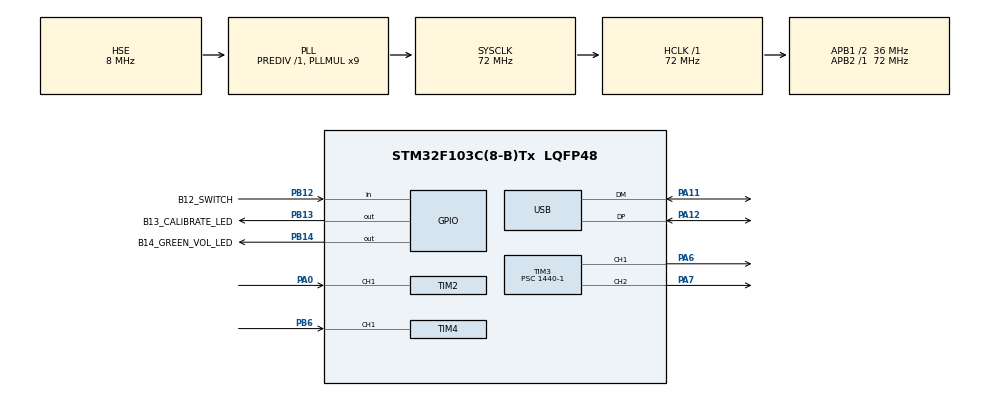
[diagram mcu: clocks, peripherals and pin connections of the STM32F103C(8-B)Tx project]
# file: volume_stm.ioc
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Mcu.Family=STM32F1
Mcu.Name=STM32F103C(8-B)Tx
Mcu.Package=LQFP48
NVIC.PriorityGroup=NVIC_PRIORITYGROUP_4
NVIC.RCC_IRQn=true\:0\:0\:false\:false\:true\:true\:false\:true
NVIC.TIM2_IRQn=true\:0\:0\:false\:false\:true\:true\:true\:true
NVIC.TIM3_IRQn=true\:0\:0\:false\:false\:true\:true\:true\:true
NVIC.TIM4_IRQn=true\:0\:0\:false\:false\:true\:true\:true\:true
NVIC.USB_HP_CAN1_TX_IRQn=true\:0\:0\:false\:false\:true\:true\:true\:true
NVIC.USB_LP_CAN1_RX0_IRQn=true\:0\:0\:false\:false\:true\:true\:true\:true
PA0-WKUP.Signal=S_TIM2_CH1_ETR
PA11.Mode=Device
PA11.Signal=USB_DM
PA12.Mode=Device
PA12.Signal=USB_DP
PA13.Mode=Serial_Wire
PA13.Signal=SYS_JTMS-SWDIO
PA14.Mode=Serial_Wire
PA14.Signal=SYS_JTCK-SWCLK
PA6.Signal=S_TIM3_CH1
PA7.Signal=S_TIM3_CH2
PB12.GPIO_Label=B12_SWITCH
PB12.GPIO_PuPd=GPIO_PULLUP
PB12.Signal=GPIO_Input
PB13.GPIO_Label=B13_CALIBRATE_LED
PB13.Signal=GPIO_Output
PB14.GPIO_Label=B14_GREEN_VOL_LED
PB14.Signal=GPIO_Output
PB6.Signal=S_TIM4_CH1
PD0-OSC_IN.Mode=HSE-External-Oscillator
PD0-OSC_IN.Signal=RCC_OSC_IN
PD1-OSC_OUT.Mode=HSE-External-Oscillator
PD1-OSC_OUT.Signal=RCC_OSC_OUT
ProjectManager.HeapSize=0x200
ProjectManager.StackSize=0x400
ProjectManager.TargetToolchain=STM32CubeIDE
RCC.AHBFreq_Value=72000000
RCC.APB1CLKDivider=RCC_HCLK_DIV2
RCC.APB1Freq_Value=36000000
RCC.APB1TimFreq_Value=72000000
RCC.APB2Freq_Value=72000000
RCC.APB2TimFreq_Value=72000000
RCC.HCLKFreq_Value=72000000
RCC.PLLMUL=RCC_PLL_MUL9
RCC.PLLSourceVirtual=RCC_PLLSOURCE_HSE
RCC.SYSCLKFreq_VALUE=72000000
RCC.SYSCLKSource=RCC_SYSCLKSOURCE_PLLCLK
RCC.USBFreq_Value=48000000
RCC.USBPrescaler=RCC_USBCLKSOURCE_PLL_DIV1_5
SH.S_TIM2_CH1_ETR.0=TIM2_CH1,Input_Capture1_from_TI1
SH.S_TIM3_CH1.0=TIM3_CH1,PWM Generation1 CH1
SH.S_TIM3_CH2.0=TIM3_CH2,PWM Generation2 CH2
SH.S_TIM4_CH1.0=TIM4_CH1,Input_Capture1_from_TI1
TIM2.AutoReloadPreload=TIM_AUTORELOAD_PRELOAD_DISABLE
TIM2.Channel-Input_Capture1_from_TI1=TIM_CHANNEL_1
TIM2.Period=65535
TIM2.Prescaler=0
TIM3.Channel-PWM\ Generation1\ CH1=TIM_CHANNEL_1
TIM3.Channel-PWM\ Generation2\ CH2=TIM_CHANNEL_2
TIM3.Period=1000-1
TIM3.Prescaler=1440-1
TIM4.Channel-Input_Capture1_from_TI1=TIM_CHANNEL_1
USB_DEVICE.CLASS_NAME_FS=CDC
USB_DEVICE.USBD_DEBUG_LEVEL=3
USB_DEVICE.VirtualMode=Cdc
USB_DEVICE.VirtualModeFS=Cdc_FS
VP_TIM2_VS_ClockSourceINT.Mode=Internal
VP_TIM3_VS_ClockSourceINT.Mode=Internal
VP_TIM4_VS_ClockSourceINT.Mode=Internal
VP_USB_DEVICE_VS_USB_DEVICE_CDC_FS.Mode=CDC_FS
board=custom

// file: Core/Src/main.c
/* USER CODE BEGIN Header */
/**
 ******************************************************************************
 * @file           : main.c
 * @brief          : Main program body
 ******************************************************************************
 * @attention
 *
 * Copyright (c) 2022 STMicroelectronics.
 * All rights reserved.
 *
 * This software is licensed under terms that can be found in the LICENSE file
 * in the root directory of this software component.
 * If no LICENSE file comes with this software, it is provided AS-IS.
 *
 ******************************************************************************
 */
/* USER CODE END Header */
#include "main.h"
#include "usb_device.h"

/* USER CODE BEGIN PTD */

const uint32_t POS_PLAY_3 = 55;
const uint32_t POS_PLAY_2 = 45;
const uint32_t POS_PLAY = 35;
const uint32_t POS_SILENCE = 25;

/* USER CODE END PTD */

/* USER CODE BEGIN PD */
#define TIMCLOCK   72000000 //This should be valid for all timers. But better check it.
#define PRESCALAR  1 // Input is 0 in Prescalar field in CubeMx

#define BOOLEAN int
#define true 1
#define false 0
/* USER CODE END PD */

TIM_HandleTypeDef htim2;
TIM_HandleTypeDef htim3;
TIM_HandleTypeDef htim4;

/* USER CODE BEGIN PV */
uint32_t vol_IC_val1 = 0;
uint32_t vol_IC_val2 = 0;
uint32_t vol_period_ticks = 0;
int vol_is_first_captured = 0;

float vol_frequency = 0;
uint8_t vol_finished_one_measurement = 0;

const char *vol_timers[3] = { "HTIM_1", "HTIM_2", "WRONG" };
uint8_t vol_current_timer = 0;

const uint32_t VOL_LOWEST_FREQUENCY = 2000; // Hand CLOSE to antenna
uint32_t VOL_VALUES[3] = { VOL_LOWEST_FREQUENCY, VOL_LOWEST_FREQUENCY + 150,
		VOL_LOWEST_FREQUENCY + 300 };
uint32_t vol_value = { 0 };
uint8_t first_ever = 1;
uint32_t current_pos = POS_SILENCE;
/* USER CODE END PV */

void SystemClock_Config(void);
static void MX_GPIO_Init(void);
static void MX_TIM2_Init(void);
static void MX_TIM3_Init(void);
static void MX_TIM4_Init(void);
/* USER CODE BEGIN PFP */
void vol_calibrate_antenna();
BOOLEAN vol_is_in_range(int lower_limit, int upper_limit, int number);
void vol_play();
void vol_play_hw(uint32_t vol_position);
void test_volume_servo();
void print_to_com_port();
/* USER CODE END PFP */

int main(void) {

	/* MCU Configuration--------------------------------------------------------*/

	/* Reset of all peripherals, Initializes the Flash interface and the Systick. */
	HAL_Init();

	/* Configure the system clock */
	SystemClock_Config();

	/* Initialize all configured peripherals */
	MX_GPIO_Init();
	MX_TIM2_Init();
	MX_USB_DEVICE_Init();
	MX_TIM3_Init();
	MX_TIM4_Init();
	/* USER CODE BEGIN 2 */

	//Frequency measurement on TIM2_CHANNEL_1
	TIM2->CCMR1 = 50;
	//HAL_TIM_IC_Start_IT(&htim2, TIM_CHANNEL_1); // INPUT CAPTURE
	HAL_TIM_IC_Start_IT(&htim4, TIM_CHANNEL_1); // INPUT CAPTURE

	HAL_TIM_PWM_Start(&htim3, TIM_CHANNEL_1); //PWM SERVO

	//Initialize servo-motor positions to SILENCE
	htim3.Instance->CCR1 = POS_SILENCE;
	HAL_GPIO_WritePin(GPIOB, B14_GREEN_VOL_LED_Pin, GPIO_PIN_SET);
	/* USER CODE END 2 */

	/* Infinite loop */
	/* USER CODE BEGIN WHILE */
	while (1) {
		//If switch is in calibrating position, then calibrate antenna.
		if (HAL_GPIO_ReadPin(B12_SWITCH_GPIO_Port, B12_SWITCH_Pin)
				== GPIO_PIN_SET) {
			HAL_GPIO_WritePin(GPIOB, B13_CALIBRATE_LED_Pin, GPIO_PIN_RESET);
			HAL_Delay(10);
			vol_calibrate_antenna();
			print_to_com_port();
		}
		//Play instrument
		else {
			HAL_GPIO_WritePin(GPIOB, B13_CALIBRATE_LED_Pin, GPIO_PIN_SET);
			HAL_GPIO_WritePin(GPIOB, B14_GREEN_VOL_LED_Pin, GPIO_PIN_SET);
			//test_volume_servo();
			if (vol_finished_one_measurement == 1) {
				vol_play();
			}
		}
		/* USER CODE END WHILE */

	}
}

void SystemClock_Config(void) {
	RCC_OscInitTypeDef RCC_OscInitStruct = { 0 };
	RCC_ClkInitTypeDef RCC_ClkInitStruct = { 0 };
	RCC_PeriphCLKInitTypeDef PeriphClkInit = { 0 };

	/** Initializes the RCC Oscillators according to the specified parameters
	 * in the RCC_OscInitTypeDef structure.
	 */
	RCC_OscInitStruct.OscillatorType = RCC_OSCILLATORTYPE_HSE;
	RCC_OscInitStruct.HSEState = RCC_HSE_ON;
	RCC_OscInitStruct.HSEPredivValue = RCC_HSE_PREDIV_DIV1;
	RCC_OscInitStruct.HSIState = RCC_HSI_ON;
	RCC_OscInitStruct.PLL.PLLState = RCC_PLL_ON;
	RCC_OscInitStruct.PLL.PLLSource = RCC_PLLSOURCE_HSE;
	RCC_OscInitStruct.PLL.PLLMUL = RCC_PLL_MUL9;
	if (HAL_RCC_OscConfig(&RCC_OscInitStruct) != HAL_OK) {
		Error_Handler();
	}

	/** Initializes the CPU, AHB and APB buses clocks
	 */
	RCC_ClkInitStruct.ClockType = RCC_CLOCKTYPE_HCLK | RCC_CLOCKTYPE_SYSCLK
			| RCC_CLOCKTYPE_PCLK1 | RCC_CLOCKTYPE_PCLK2;
	RCC_ClkInitStruct.SYSCLKSource = RCC_SYSCLKSOURCE_PLLCLK;
	RCC_ClkInitStruct.AHBCLKDivider = RCC_SYSCLK_DIV1;
	RCC_ClkInitStruct.APB1CLKDivider = RCC_HCLK_DIV2;
	RCC_ClkInitStruct.APB2CLKDivider = RCC_HCLK_DIV1;

	if (HAL_RCC_ClockConfig(&RCC_ClkInitStruct, FLASH_LATENCY_2) != HAL_OK) {
		Error_Handler();
	}
	PeriphClkInit.PeriphClockSelection = RCC_PERIPHCLK_USB;
	PeriphClkInit.UsbClockSelection = RCC_USBCLKSOURCE_PLL_DIV1_5;
	if (HAL_RCCEx_PeriphCLKConfig(&PeriphClkInit) != HAL_OK) {
		Error_Handler();
	}
}

static void MX_TIM2_Init(void) {

	TIM_ClockConfigTypeDef sClockSourceConfig = { 0 };
	TIM_MasterConfigTypeDef sMasterConfig = { 0 };
	TIM_IC_InitTypeDef sConfigIC = { 0 };

	htim2.Instance = TIM2;
	htim2.Init.Prescaler = 0;
	htim2.Init.CounterMode = TIM_COUNTERMODE_UP;
	htim2.Init.Period = 65535;
	htim2.Init.ClockDivision = TIM_CLOCKDIVISION_DIV1;
	htim2.Init.AutoReloadPreload = TIM_AUTORELOAD_PRELOAD_DISABLE;
	if (HAL_TIM_Base_Init(&htim2) != HAL_OK) {
		Error_Handler();
	}
	sClockSourceConfig.ClockSource = TIM_CLOCKSOURCE_INTERNAL;
	if (HAL_TIM_ConfigClockSource(&htim2, &sClockSourceConfig) != HAL_OK) {
		Error_Handler();
	}
	if (HAL_TIM_IC_Init(&htim2) != HAL_OK) {
		Error_Handler();
	}
	sMasterConfig.MasterOutputTrigger = TIM_TRGO_RESET;
	sMasterConfig.MasterSlaveMode = TIM_MASTERSLAVEMODE_DISABLE;
	if (HAL_TIMEx_MasterConfigSynchronization(&htim2, &sMasterConfig)
			!= HAL_OK) {
		Error_Handler();
	}
	sConfigIC.ICPolarity = TIM_INPUTCHANNELPOLARITY_RISING;
	sConfigIC.ICSelection = TIM_ICSELECTION_DIRECTTI;
	sConfigIC.ICPrescaler = TIM_ICPSC_DIV1;
	sConfigIC.ICFilter = 0;
	if (HAL_TIM_IC_ConfigChannel(&htim2, &sConfigIC, TIM_CHANNEL_1) != HAL_OK) {
		Error_Handler();
	}

}

static void MX_TIM3_Init(void) {

	TIM_ClockConfigTypeDef sClockSourceConfig = { 0 };
	TIM_MasterConfigTypeDef sMasterConfig = { 0 };
	TIM_OC_InitTypeDef sConfigOC = { 0 };

	htim3.Instance = TIM3;
	htim3.Init.Prescaler = 1440 - 1;
	htim3.Init.CounterMode = TIM_COUNTERMODE_UP;
	htim3.Init.Period = 1000 - 1;
	htim3.Init.ClockDivision = TIM_CLOCKDIVISION_DIV1;
	htim3.Init.AutoReloadPreload = TIM_AUTORELOAD_PRELOAD_DISABLE;
	if (HAL_TIM_Base_Init(&htim3) != HAL_OK) {
		Error_Handler();
	}
	sClockSourceConfig.ClockSource = TIM_CLOCKSOURCE_INTERNAL;
	if (HAL_TIM_ConfigClockSource(&htim3, &sClockSourceConfig) != HAL_OK) {
		Error_Handler();
	}
	if (HAL_TIM_PWM_Init(&htim3) != HAL_OK) {
		Error_Handler();
	}
	sMasterConfig.MasterOutputTrigger = TIM_TRGO_RESET;
	sMasterConfig.MasterSlaveMode = TIM_MASTERSLAVEMODE_DISABLE;
	if (HAL_TIMEx_MasterConfigSynchronization(&htim3, &sMasterConfig)
			!= HAL_OK) {
		Error_Handler();
	}
	sConfigOC.OCMode = TIM_OCMODE_PWM1;
	sConfigOC.Pulse = 0;
	sConfigOC.OCPolarity = TIM_OCPOLARITY_HIGH;
	sConfigOC.OCFastMode = TIM_OCFAST_DISABLE;
	if (HAL_TIM_PWM_ConfigChannel(&htim3, &sConfigOC, TIM_CHANNEL_1)
			!= HAL_OK) {
		Error_Handler();
	}
	if (HAL_TIM_PWM_ConfigChannel(&htim3, &sConfigOC, TIM_CHANNEL_2)
			!= HAL_OK) {
		Error_Handler();
	}
	HAL_TIM_MspPostInit(&htim3);

}

static void MX_TIM4_Init(void) {

	TIM_ClockConfigTypeDef sClockSourceConfig = { 0 };
	TIM_MasterConfigTypeDef sMasterConfig = { 0 };
	TIM_IC_InitTypeDef sConfigIC = { 0 };

	htim4.Instance = TIM4;
	htim4.Init.Prescaler = 0;
	htim4.Init.CounterMode = TIM_COUNTERMODE_UP;
	htim4.Init.Period = 65535;
	htim4.Init.ClockDivision = TIM_CLOCKDIVISION_DIV1;
	htim4.Init.AutoReloadPreload = TIM_AUTORELOAD_PRELOAD_DISABLE;
	if (HAL_TIM_Base_Init(&htim4) != HAL_OK) {
		Error_Handler();
	}
	sClockSourceConfig.ClockSource = TIM_CLOCKSOURCE_INTERNAL;
	if (HAL_TIM_ConfigClockSource(&htim4, &sClockSourceConfig) != HAL_OK) {
		Error_Handler();
	}
	if (HAL_TIM_IC_Init(&htim4) != HAL_OK) {
		Error_Handler();
	}
	sMasterConfig.MasterOutputTrigger = TIM_TRGO_RESET;
	sMasterConfig.MasterSlaveMode = TIM_MASTERSLAVEMODE_DISABLE;
	if (HAL_TIMEx_MasterConfigSynchronization(&htim4, &sMasterConfig)
			!= HAL_OK) {
		Error_Handler();
	}
	sConfigIC.ICPolarity = TIM_INPUTCHANNELPOLARITY_RISING;
	sConfigIC.ICSelection = TIM_ICSELECTION_DIRECTTI;
	sConfigIC.ICPrescaler = TIM_ICPSC_DIV1;
	sConfigIC.ICFilter = 0;
	if (HAL_TIM_IC_ConfigChannel(&htim4, &sConfigIC, TIM_CHANNEL_1) != HAL_OK) {
		Error_Handler();
	}

}

static void MX_GPIO_Init(void) {
	GPIO_InitTypeDef GPIO_InitStruct = { 0 };

	/* GPIO Ports Clock Enable */
	__HAL_RCC_GPIOD_CLK_ENABLE();
	__HAL_RCC_GPIOA_CLK_ENABLE();
	__HAL_RCC_GPIOB_CLK_ENABLE();

	/*Configure GPIO pin Output Level */
	HAL_GPIO_WritePin(GPIOB, B13_CALIBRATE_LED_Pin | B14_GREEN_VOL_LED_Pin,
			GPIO_PIN_RESET);

	/*Configure GPIO pin : B12_SWITCH_Pin */
	GPIO_InitStruct.Pin = B12_SWITCH_Pin;
	GPIO_InitStruct.Mode = GPIO_MODE_INPUT;
	GPIO_InitStruct.Pull = GPIO_PULLUP;
	HAL_GPIO_Init(B12_SWITCH_GPIO_Port, &GPIO_InitStruct);

	/*Configure GPIO pins : B13_CALIBRATE_LED_Pin B14_GREEN_VOL_LED_Pin */
	GPIO_InitStruct.Pin = B13_CALIBRATE_LED_Pin | B14_GREEN_VOL_LED_Pin;
	GPIO_InitStruct.Mode = GPIO_MODE_OUTPUT_PP;
	GPIO_InitStruct.Pull = GPIO_NOPULL;
	GPIO_InitStruct.Speed = GPIO_SPEED_FREQ_LOW;
	HAL_GPIO_Init(GPIOB, &GPIO_InitStruct);

}

/* USER CODE BEGIN 4 */
void print_to_com_port() {
	char buffer[100];
	sprintf(buffer, "%f;%lu; \r\n", vol_frequency, vol_period_ticks);
	CDC_Transmit_FS((uint8_t*) buffer, strlen(buffer));

}
BOOLEAN vol_is_in_range(int lower_limit, int upper_limit, int number) {
	return (lower_limit <= number && number <= upper_limit);
}
void vol_calibrate_antenna() {
	const uint32_t TOLERANCE = 60;
	if (vol_is_in_range(VOL_LOWEST_FREQUENCY, VOL_LOWEST_FREQUENCY + TOLERANCE,
			vol_frequency) == true) {
		current_pos = POS_SILENCE;
		HAL_GPIO_WritePin(GPIOB, B14_GREEN_VOL_LED_Pin, GPIO_PIN_RESET);
		HAL_Delay(10);
	} else {
		//Turn OFF GREEN LED
		HAL_GPIO_WritePin(GPIOB, B14_GREEN_VOL_LED_Pin, GPIO_PIN_SET);
		HAL_Delay(10);
	}

}
void vol_play_hw(uint32_t vol_position) {
	htim3.Instance->CCR1 = vol_position;
	HAL_Delay(200);
	//vol_is_first_captured = 0;
	//__HAL_TIM_SET_COUNTER(&htim2, 0);

}
void test_volume_servo() {
	for (int i = 25; i < 100; i++) {
		htim3.Instance->CCR1 = i;
		HAL_Delay(200);
	}
}
void vol_play() {
	const uint32_t STEP_SIZE = 40;
	if ((vol_frequency > VOL_LOWEST_FREQUENCY) && (vol_frequency < 2800)) {
		current_pos = POS_SILENCE;
		vol_play_hw(current_pos);
	} else if ((vol_frequency < VOL_LOWEST_FREQUENCY)
			&& (vol_frequency > 1400)) {
		current_pos = POS_PLAY;
		vol_play_hw(current_pos);
	}

	/*if (vol_is_in_range(VOL_VALUES[0]-STEP_SIZE-1000,
	 VOL_VALUES[0] +STEP_SIZE, vol_frequency) == true) {
	 current_pos = POS_SILENCE;
	 } else if (vol_is_in_range(VOL_VALUES[1]-STEP_SIZE,
	 VOL_VALUES[1] + STEP_SIZE, vol_frequency) == true) {
	 current_pos = POS_PLAY;
	 } else if (vol_is_in_range(VOL_VALUES[2]-STEP_SIZE,
	 VOL_VALUES[2] + STEP_SIZE, vol_frequency) == true) {
	 current_pos = POS_PLAY_2;
	 }
	 vol_play_hw(current_pos);
	 */

	/*if (vol_is_in_range(VOL_LOWEST_FREQUENCY, VOL_LOWEST_FREQUENCY + 600,
	 vol_frequency)== true) {

	 float res = (vol_frequency / 20) - 70;
	 vol_play_hw(res);
	 }
	 else if(vol_frequency > VOL_LOWEST_FREQUENCY + 650){
	 vol_play_hw(60);
	 }
	 else if(vol_frequency < VOL_LOWEST_FREQUENCY -50){
	 vol_play_hw(30);
	 }*/
}

void HAL_TIM_IC_CaptureCallback(TIM_HandleTypeDef *htim) {

	if (htim == &htim2 || htim == &htim4) {

		if (htim->Channel != HAL_TIM_ACTIVE_CHANNEL_1) {
			return;
		}

		/*static size_t sample_count = 0;
		 static uint32_t accomulator = 0;

		 uint32_t value = HAL_TIM_ReadCapturedValue(htim, TIM_CHANNEL_1);

		 accomulator += value;

		 if (sample_count++ >= 32)
		 {
		 sample_count = 0;
		 accomulator = accomulator / 32;
		 const float refClock = TIMCLOCK / (PRESCALAR);
		 vol_frequency = refClock / accomulator;
		 }*/

		if (vol_is_first_captured == 0) // if the first rising edge is not captured
				{
			vol_finished_one_measurement = 0;
			vol_IC_val1 = HAL_TIM_ReadCapturedValue(htim, TIM_CHANNEL_1); // read the first value
			vol_is_first_captured = 1;  // set the first captured as true
		}

		else // If the first rising edge is captured, now we will capture the second edge
		{
			vol_IC_val2 = HAL_TIM_ReadCapturedValue(htim, TIM_CHANNEL_1); // read second value

			if (vol_IC_val2 > vol_IC_val1) {
				vol_period_ticks = vol_IC_val2 - vol_IC_val1;
			}

			else if (vol_IC_val1 > vol_IC_val2) {
				vol_period_ticks = (0xffff - vol_IC_val1) + vol_IC_val2; //0xffff 65535
			}

			float refClock = TIMCLOCK / (PRESCALAR);

			vol_frequency = refClock / vol_period_ticks;

			__HAL_TIM_SET_COUNTER(htim, 0);  // reset the counter
			vol_is_first_captured = 0;

			if (vol_frequency < 1) {
				vol_finished_one_measurement = 0;
			} else {
				vol_finished_one_measurement = 1;
			}

		}
	} else {
		return;
	}
}
/* USER CODE END 4 */

void Error_Handler(void) {
	__disable_irq();
	while (1) {
	}
}
